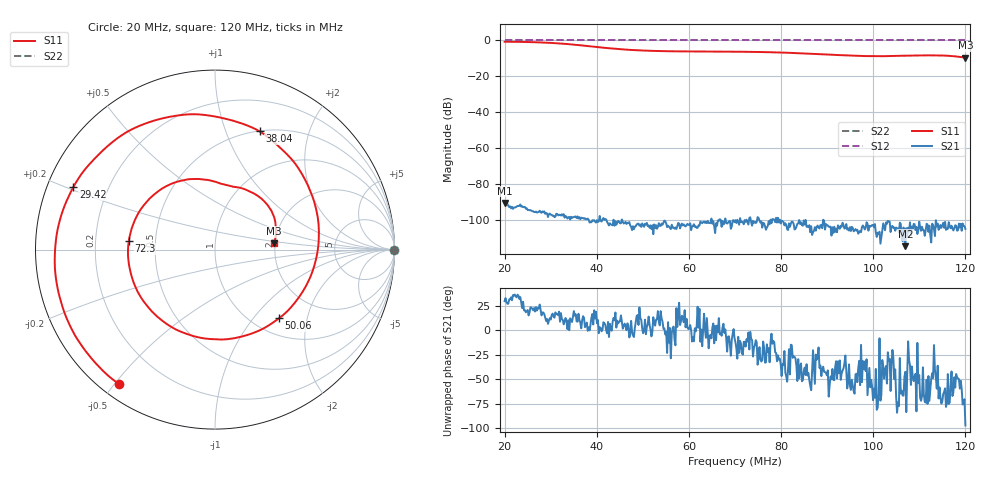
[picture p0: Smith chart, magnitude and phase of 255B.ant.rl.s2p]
! Anritsu VNA Master:  Model: MS2036C/10/77
! SN:  1601066
! /card0/usr/18may27.balun/5b.m.s2p
! Existing Calibration Information:
! TYPE:  Current Settings,  Active Cal Settings
! TIME:  05/27/2018 03:25:44 PM,  05/27/2018 03:21:57 PM
! INTERNAL TEMP:  52.5 C,  52.3 C
! # POINTS:  500,  500
! START FREQ:  20.000 MHz,  20.000 MHz
! STOP FREQ:  120.000 MHz,  120.000 MHz
! SOURCE POWER:  High,  High
! IFBW:  50 Hz,  50 Hz
! AVG FACTOR:  1 ,  1
! REF PLANE 1:  0 mm,  0 mm
! REF PLANE 2:  0 mm,  0 mm
! CAL TYPE:  Full S11,  Full S11
! CAL METHOD:  SOLT,  SOLT
! CAL LINE TYPE:  Coax,  Coax
! DUT PORT 1:  K-Conn(M),  K-Conn(M)
! DUT PORT 2:  K-Conn(M),  K-Conn(M)
! CAL STATUS:  OK: Accuracy High,  --
# GHZ S DB R 50.0
! FREQ.GHZ  S11DB  S11A  S21DB  S21A  S12DB  S12A  S22DB  S22A
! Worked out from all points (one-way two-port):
!   500 points, 20 MHz to 120 MHz, reference 50 ohm
!   highest |S21| = -90.62 dB at 20 MHz (marker M1); lowest = -114.7 dB at 107 MHz (marker M2)
!   lowest |S11| = -9.6 dB at 120 MHz (marker M3), VSWR 1.99, Z = 98.8 + j7.98 ohm
!   |S11| at or under -10 dB: nowhere
!   |S22| runs from 0.0 to 0.0 dB; largest |S21 - S12| = 1
!   S11 on the Smith chart (normalised r, x): 20 MHz: 0.05, -0.51; 29.42 MHz: 0.08, +0.21; 38.04 MHz: 0.50, +1.32; 50.06 MHz: 1.30, -1.37; 72.3 MHz: 0.35, +0.04; 120 MHz: 1.98, +0.16
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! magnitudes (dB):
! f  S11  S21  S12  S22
! 20 MHz  -0.7  -90.6  0.0  0.0
! 25.61 MHz  -0.9  -94.6  0.0  0.0
! 29.42 MHz  -1.3  -98.5  0.0  0.0
! 32.83 MHz  -1.8  -96.9  0.0  0.0
! 36.83 MHz  -2.8  -99.0  0.0  0.0
! 38.04 MHz  -3.0  -99.3  0.0  0.0
! 41.64 MHz  -4.1  -100.1  0.0  0.0
! 44.45 MHz  -4.8  -101.6  0.0  0.0
! 50.06 MHz  -5.6  -103.0  0.0  0.0
! 53.47 MHz  -5.9  -101.9  0.0  0.0
! 70.1 MHz  -6.3  -100.2  0.0  0.0
! 72.3 MHz  -6.3  -101.1  0.0  0.0
! 79.52 MHz  -6.7  -101.5  0.0  0.0
! 86.73 MHz  -7.4  -108.5  0.0  0.0
! 97.15 MHz  -8.6  -106.2  0.0  0.0
! 99.96 MHz  -8.8  -102.9  0.0  0.0
! 103.4 MHz  -8.7  -100.9  0.0  0.0
! 107 MHz  -8.5  -114.7  0.0  0.0
! 111.4 MHz  -8.3  -105.9  0.0  0.0
! 115 MHz  -8.4  -103.1  0.0  0.0
! 117.2 MHz  -8.7  -104.9  0.0  0.0
! 120 MHz  -9.6  -105.1  0.0  0.0
